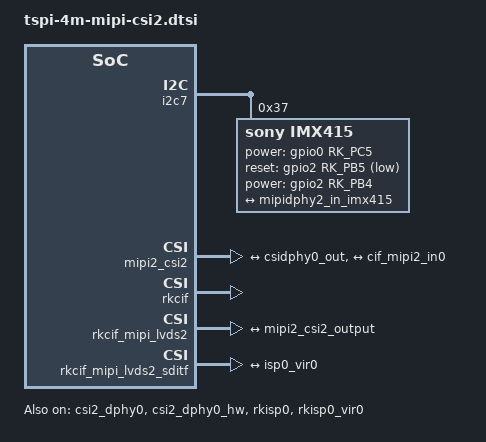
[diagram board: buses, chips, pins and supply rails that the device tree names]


&i2c7 {
	status = "okay";

	imx415: imx415@37 {
		compatible = "sony,imx415";
		status = "okay";
		reg = <0x37>;
		clocks = <&cru CLK_MIPI_CAMARAOUT_M3>;
		clock-names = "xvclk";
		pinctrl-names = "default";
		pinctrl-0 = <&mipim0_camera3_clk>;
		power-domains = <&power RK3588_PD_VI>;

		rockchip,power-gpios = <&gpio0 RK_PC5 GPIO_ACTIVE_HIGH>;
		reset-gpios = <&gpio2 RK_PB5 GPIO_ACTIVE_LOW>;
		power-gpios = <&gpio2 RK_PB4 GPIO_ACTIVE_HIGH>;


		rockchip,camera-module-index = <0>;
		// rockchip,camera-module-facing = "back";
		rockchip,camera-module-facing = "front";
		rockchip,camera-module-name = "CMK-OT2022-PX1";
		rockchip,camera-module-lens-name = "IR0147-50IRC-8M-F20";
		port {
			imx415_out3: endpoint {
				remote-endpoint = <&mipidphy2_in_imx415>;
				data-lanes = <1 2 3 4>;
			};
		};

		
	};
};

&csi2_dphy0 {
	status = "okay";

	ports {
		#address-cells = <1>;
		#size-cells = <0>;
		port@0 {
			reg = <0>;
			#address-cells = <1>;
			#size-cells = <0>;

			mipidphy2_in_imx415: endpoint@1 {
				reg = <1>;
				remote-endpoint = <&imx415_out3>;
				data-lanes = <1 2 3 4>;
			};
		};
		port@1 {
			reg = <1>;
			#address-cells = <1>;
			#size-cells = <0>;

			csidphy0_out: endpoint@0 {
				reg = <0>;
				remote-endpoint = <&mipi2_csi2_input>;
			};
		};
	};
};

&csi2_dphy0_hw {
	status = "okay";
};

&mipi2_csi2 {
	status = "okay";

	ports {
		#address-cells = <1>;
		#size-cells = <0>;

		port@0 {
			reg = <0>;
			#address-cells = <1>;
			#size-cells = <0>;

			mipi2_csi2_input: endpoint@1 {
				reg = <1>;
				remote-endpoint = <&csidphy0_out>;
			};
		};

		port@1 {
			reg = <1>;
			#address-cells = <1>;
			#size-cells = <0>;

			mipi2_csi2_output: endpoint@0 {
				reg = <0>;
				remote-endpoint = <&cif_mipi2_in0>;
			};
		};
	};
};


&rkcif {
	status = "okay";
};

&rkcif_mipi_lvds2 {
	status = "okay";

	port {
		cif_mipi2_in0: endpoint {
			remote-endpoint = <&mipi2_csi2_output>;
		};
	};
};

&rkcif_mipi_lvds2_sditf {
	status = "okay";

	port {
		mipi_lvds2_sditf: endpoint {
			remote-endpoint = <&isp0_vir0>;
		};
	};
};

&rkcif_mmu {
	status = "okay";
};

&rkisp0 {
	status = "okay";
};

&isp0_mmu {
	status = "okay";
};

&rkisp0_vir0 {
	status = "okay";

	port {
		#address-cells = <1>;
		#size-cells = <0>;

		isp0_vir0: endpoint@0 {
			reg = <0>;
			remote-endpoint = <&mipi_lvds2_sditf>;
		};
	};
};
